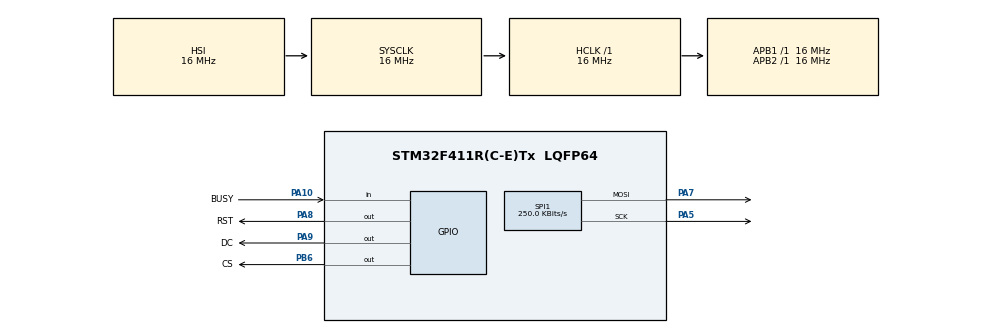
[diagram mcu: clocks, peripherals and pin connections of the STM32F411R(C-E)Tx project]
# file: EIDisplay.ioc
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Mcu.Family=STM32F4
Mcu.Name=STM32F411R(C-E)Tx
Mcu.Package=LQFP64
NVIC.PriorityGroup=NVIC_PRIORITYGROUP_4
PA10.GPIO_Label=BUSY
PA10.Signal=GPIO_Input
PA5.Mode=TX_Only_Simplex_Unidirect_Master
PA5.Signal=SPI1_SCK
PA7.Mode=TX_Only_Simplex_Unidirect_Master
PA7.Signal=SPI1_MOSI
PA8.GPIO_Label=RST
PA8.Signal=GPIO_Output
PA9.GPIO_Label=DC
PA9.Signal=GPIO_Output
PB6.GPIO_Label=CS
PB6.Signal=GPIO_Output
ProjectManager.HeapSize=0x200
ProjectManager.StackSize=0x400
ProjectManager.TargetToolchain=STM32CubeIDE
RCC.AHBFreq_Value=16000000
RCC.APB1Freq_Value=16000000
RCC.APB2Freq_Value=16000000
RCC.CortexFreq_Value=16000000
RCC.HSE_VALUE=25000000
RCC.HSI_VALUE=16000000
RCC.LSE_VALUE=32768
RCC.SYSCLKFreq_VALUE=16000000
RCC.VCOOutputFreq_Value=192000000
SPI1.BaudRatePrescaler=SPI_BAUDRATEPRESCALER_64
SPI1.CalculateBaudRate=250.0 KBits/s
SPI1.Direction=SPI_DIRECTION_2LINES
SPI1.Mode=SPI_MODE_MASTER
SPI1.VirtualType=VM_MASTER
board=custom

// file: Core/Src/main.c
/* USER CODE BEGIN Header */
/**
  ******************************************************************************
  * @file           : main.c
  * @brief          : Main program body
  ******************************************************************************
  * @attention
  *
  * Copyright (c) 2026 STMicroelectronics.
  * All rights reserved.
  *
  * This software is licensed under terms that can be found in the LICENSE file
  * in the root directory of this software component.
  * If no LICENSE file comes with this software, it is provided AS-IS.
  *
  ******************************************************************************
  */
/* USER CODE END Header */
#include <EID_Core.h>
#include <EID_Bitmap.h>
#include <EID_Graphics.h>
#include "main.h"

SPI_HandleTypeDef hspi1;

void SystemClock_Config(void);
static void MX_GPIO_Init(void);
static void MX_SPI1_Init(void);

int main(void)
{

  /* MCU Configuration--------------------------------------------------------*/

  /* Reset of all peripherals, Initializes the Flash interface and the Systick. */
  HAL_Init();

  /* Configure the system clock */
  SystemClock_Config();

  /* Initialize all configured peripherals */
  MX_GPIO_Init();
  MX_SPI1_Init();
  /* USER CODE BEGIN 2 */
  HAL_GPIO_ReadPin(BUSY_GPIO_Port, BUSY_Pin);

  EID_Interface myDisplay = {
      .hspi     = &hspi1,
      .portCS   = CS_GPIO_Port,
      .pinCS    = CS_Pin,
      .portDC   = DC_GPIO_Port,
      .pinDC    = DC_Pin,
      .portRST  = RST_GPIO_Port,
      .pinRST   = RST_Pin,
      .portBUSY = BUSY_GPIO_Port,
      .pinBUSY  = BUSY_Pin
  };
  EID_Init(&myDisplay);
  EID_Clear(&myDisplay);
  // Wyczyść "stary" bank na biało (0xFF)
  const tImage *test= (const tImage *)EID_GetChar(&Font, 'x');
//  if(test != NULL)
//  {
//	  EID_AddImgToBuffer(0, 0, test->data, test->width, test->height);
//
//  }
  	for(int i=0;i<4736;i++){
  		EID_Buffer[i]=0xFF;
  	}
  EID_StrToChar("Grzegorz Chrabelski - student TUL", 0, 0);
  EID_DrawBitmap(&myDisplay);
//  EID_DrawBitmap(&myDisplay, heart);
  // Wpisz do "nowego" banku czarny (0x00)

  /* USER CODE END 2 */

  /* Infinite loop */
  while (1)
  {

  }
}

void SystemClock_Config(void)
{
  RCC_OscInitTypeDef RCC_OscInitStruct = {0};
  RCC_ClkInitTypeDef RCC_ClkInitStruct = {0};

  /** Configure the main internal regulator output voltage
  */
  __HAL_RCC_PWR_CLK_ENABLE();
  __HAL_PWR_VOLTAGESCALING_CONFIG(PWR_REGULATOR_VOLTAGE_SCALE1);

  /** Initializes the RCC Oscillators according to the specified parameters
  * in the RCC_OscInitTypeDef structure.
  */
  RCC_OscInitStruct.OscillatorType = RCC_OSCILLATORTYPE_HSI;
  RCC_OscInitStruct.HSIState = RCC_HSI_ON;
  RCC_OscInitStruct.HSICalibrationValue = RCC_HSICALIBRATION_DEFAULT;
  RCC_OscInitStruct.PLL.PLLState = RCC_PLL_NONE;
  if (HAL_RCC_OscConfig(&RCC_OscInitStruct) != HAL_OK)
  {
    Error_Handler();
  }

  /** Initializes the CPU, AHB and APB buses clocks
  */
  RCC_ClkInitStruct.ClockType = RCC_CLOCKTYPE_HCLK|RCC_CLOCKTYPE_SYSCLK
                              |RCC_CLOCKTYPE_PCLK1|RCC_CLOCKTYPE_PCLK2;
  RCC_ClkInitStruct.SYSCLKSource = RCC_SYSCLKSOURCE_HSI;
  RCC_ClkInitStruct.AHBCLKDivider = RCC_SYSCLK_DIV1;
  RCC_ClkInitStruct.APB1CLKDivider = RCC_HCLK_DIV1;
  RCC_ClkInitStruct.APB2CLKDivider = RCC_HCLK_DIV1;

  if (HAL_RCC_ClockConfig(&RCC_ClkInitStruct, FLASH_LATENCY_0) != HAL_OK)
  {
    Error_Handler();
  }
}

static void MX_SPI1_Init(void)
{

  /* SPI1 parameter configuration*/
  hspi1.Instance = SPI1;
  hspi1.Init.Mode = SPI_MODE_MASTER;
  hspi1.Init.Direction = SPI_DIRECTION_2LINES;
  hspi1.Init.DataSize = SPI_DATASIZE_8BIT;
  hspi1.Init.CLKPolarity = SPI_POLARITY_LOW;
  hspi1.Init.CLKPhase = SPI_PHASE_1EDGE;
  hspi1.Init.NSS = SPI_NSS_SOFT;
  hspi1.Init.BaudRatePrescaler = SPI_BAUDRATEPRESCALER_64;
  hspi1.Init.FirstBit = SPI_FIRSTBIT_MSB;
  hspi1.Init.TIMode = SPI_TIMODE_DISABLE;
  hspi1.Init.CRCCalculation = SPI_CRCCALCULATION_DISABLE;
  hspi1.Init.CRCPolynomial = 10;
  if (HAL_SPI_Init(&hspi1) != HAL_OK)
  {
    Error_Handler();
  }

}

static void MX_GPIO_Init(void)
{
  GPIO_InitTypeDef GPIO_InitStruct = {0};

  /* GPIO Ports Clock Enable */
  __HAL_RCC_GPIOA_CLK_ENABLE();
  __HAL_RCC_GPIOB_CLK_ENABLE();

  /*Configure GPIO pin Output Level */
  HAL_GPIO_WritePin(GPIOA, RST_Pin|DC_Pin, GPIO_PIN_RESET);

  /*Configure GPIO pin Output Level */
  HAL_GPIO_WritePin(CS_GPIO_Port, CS_Pin, GPIO_PIN_RESET);

  /*Configure GPIO pins : RST_Pin DC_Pin */
  GPIO_InitStruct.Pin = RST_Pin|DC_Pin;
  GPIO_InitStruct.Mode = GPIO_MODE_OUTPUT_PP;
  GPIO_InitStruct.Pull = GPIO_NOPULL;
  GPIO_InitStruct.Speed = GPIO_SPEED_FREQ_LOW;
  HAL_GPIO_Init(GPIOA, &GPIO_InitStruct);

  /*Configure GPIO pin : BUSY_Pin */
  GPIO_InitStruct.Pin = BUSY_Pin;
  GPIO_InitStruct.Mode = GPIO_MODE_INPUT;
  GPIO_InitStruct.Pull = GPIO_NOPULL;
  HAL_GPIO_Init(BUSY_GPIO_Port, &GPIO_InitStruct);

  /*Configure GPIO pin : CS_Pin */
  GPIO_InitStruct.Pin = CS_Pin;
  GPIO_InitStruct.Mode = GPIO_MODE_OUTPUT_PP;
  GPIO_InitStruct.Pull = GPIO_NOPULL;
  GPIO_InitStruct.Speed = GPIO_SPEED_FREQ_LOW;
  HAL_GPIO_Init(CS_GPIO_Port, &GPIO_InitStruct);

}

void Error_Handler(void)
{
  __disable_irq();
  while (1)
  {
  }
}
